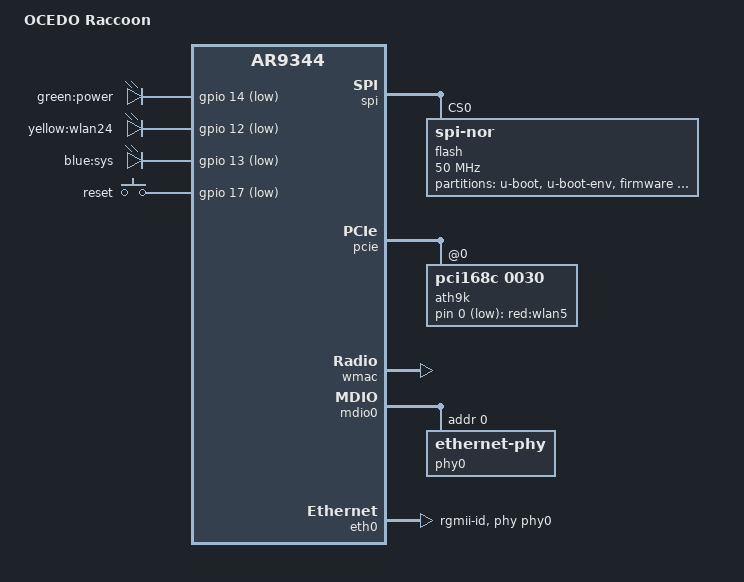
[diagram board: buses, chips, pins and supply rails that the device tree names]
// SPDX-License-Identifier: GPL-2.0-or-later OR MIT

#include "ar9344.dtsi"

#include <dt-bindings/gpio/gpio.h>
#include <dt-bindings/input/input.h>

/ {
	model = "OCEDO Raccoon";
	compatible = "ocedo,raccoon", "qca,ar9344";

	chosen {
		bootargs = "console=ttyS0,115200n8";
	};

	aliases {
		led-boot = &led_system;
		led-failsafe = &led_system;
		led-running = &led_system;
		led-upgrade = &led_system;
	};

	leds {
		compatible = "gpio-leds";

		power {
			label = "green:power";
			gpios = <&gpio 14 GPIO_ACTIVE_LOW>;
			default-state = "on";
		};

		wlan2g {
			label = "yellow:wlan24";
			gpios = <&gpio 12 GPIO_ACTIVE_LOW>;
			linux,default-trigger = "phy0tpt";
		};

		led_system: system {
			label = "blue:sys";
			gpios = <&gpio 13 GPIO_ACTIVE_LOW>;
		};
	};

	ath9k-leds {
		compatible = "gpio-leds";

		wlan5g {
			label = "red:wlan5";
			gpios = <&ath9k 0 GPIO_ACTIVE_LOW>;
			linux,default-trigger = "phy1tpt";
		};
	};

	keys {
		compatible = "gpio-keys";

		reset {
			linux,code = <KEY_RESTART>;
			gpios = <&gpio 17 GPIO_ACTIVE_LOW>;
			debounce-interval = <60>;
		};
	};
};

&ref {
	clock-frequency = <40000000>;
};

&spi {
	status = "okay";

	flash@0 {
		compatible = "jedec,spi-nor";
		reg = <0>;
		spi-max-frequency = <50000000>;

		partitions {
			compatible = "fixed-partitions";
			#address-cells = <1>;
			#size-cells = <1>;

			uboot: partition@0 {
				label = "u-boot";
				reg = <0x000000 0x040000>;
				read-only;
			};

			partition@40000 {
				label = "u-boot-env";
				reg = <0x040000 0x010000>;
			};

			partition@50000 {
				compatible = "denx,uimage";
				label = "firmware";
				reg = <0x050000 0x740000>;
			};

			partition@790000 {
				label = "vendor";
				reg = <0x790000 0x740000>;
				read-only;
			};

			partition@ed0000 {
				label = "data";
				reg = <0xed0000 0x110000>;
				read-only;
			};

			partition@fe0000 {
				label = "id";
				reg = <0xfe0000 0x010000>;
				read-only;
			};

			art: partition@ff0000 {
				label = "art";
				reg = <0xff0000 0x010000>;
				read-only;
			};
		};
	};
};

&pcie {
	status = "okay";

	ath9k: wifi@0,0 {
		compatible = "pci168c,0030";
		reg = <0x0000 0 0 0 0>;
		nvmem-cells = <&macaddr_art_c>;
		nvmem-cell-names = "mac-address";
		qca,no-eeprom;
		#gpio-cells = <2>;
		gpio-controller;
	};
};

&wmac {
	status = "okay";

	mtd-cal-data = <&art 0x1000>;
	nvmem-cells = <&macaddr_art_6>;
	nvmem-cell-names = "mac-address";
};

&mdio0 {
	status = "okay";

	phy-mask = <0>;

	phy0: ethernet-phy@0 {
		reg = <0>;
		eee-broken-100tx;
		eee-broken-1000t;
	};
};

&eth0 {
	status = "okay";

	pll-data = <0x02000000 0x00000101 0x00001313>;

	nvmem-cells = <&macaddr_art_0>;
	nvmem-cell-names = "mac-address";

	phy-mode = "rgmii-id";
	phy-handle = <&phy0>;

	gmac-config {
		device = <&gmac>;
		rgmii-gmac0 = <1>;
		rxdv-delay = <3>;
		rxd-delay = <3>;
		txen-delay = <0>;
		txd-delay = <0>;
	};
};

&art {
	compatible = "nvmem-cells";
	#address-cells = <1>;
	#size-cells = <1>;

	macaddr_art_0: macaddr@0 {
		reg = <0x0 0x6>;
	};

	macaddr_art_6: macaddr@6 {
		reg = <0x6 0x6>;
	};

	macaddr_art_c: macaddr@c {
		reg = <0xc 0x6>;
	};
};
